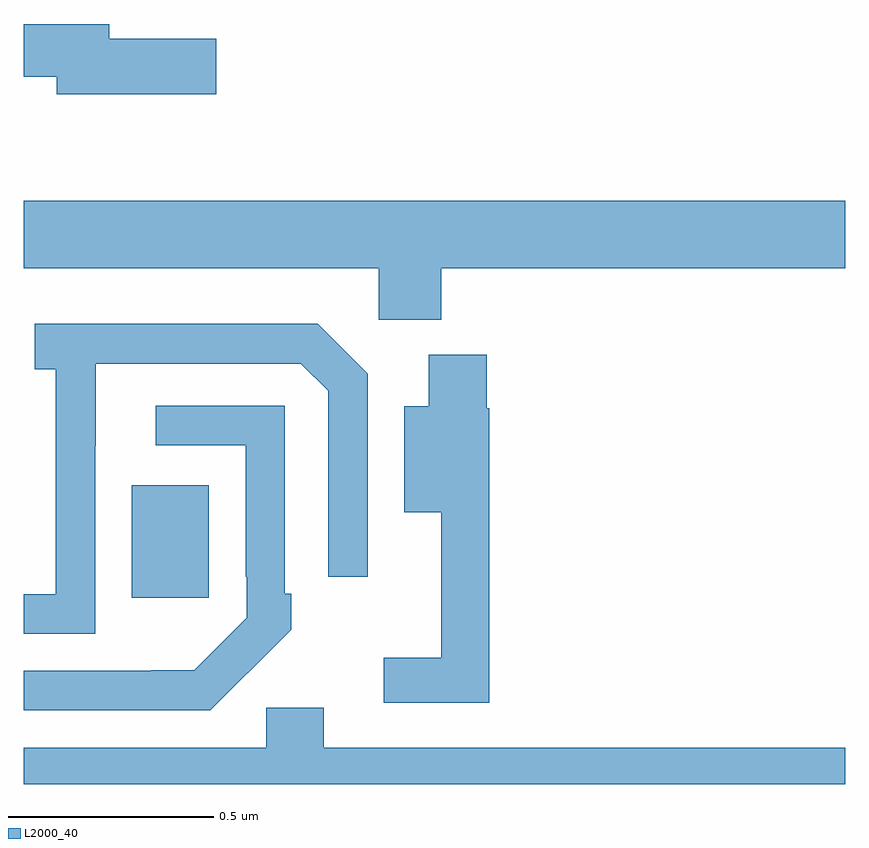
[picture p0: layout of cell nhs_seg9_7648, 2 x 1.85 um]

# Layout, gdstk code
import gdstk
lib = gdstk.Library(unit=1e-6, precision=1e-09)
def R(c, l, rs):  # rectangles x0, y0, x1, y1
    for r in rs: c.add(gdstk.rectangle(r[:2], r[2:], *l))
def P(c, l, *ps):  # polygons
    for p in ps: c.add(gdstk.Polygon(p, *l))
L2000_40 = (2000, 40)

nhs_seg9_7648 = lib.new_cell('nhs_seg9_7648')
R(nhs_seg9_7648, L2000_40, [(207.263,1192.953,207.451,1193.227)])
P(nhs_seg9_7648, L2000_40, [(207.469,1194.314),(207.208,1194.314),(207.208,1194.35),(207,1194.35),(207,1194.222),(207.08,1194.222),(207.08,1194.179),(207.469,1194.179)],
  [(208.016,1193.756),(209,1193.756),(209,1193.92),(207,1193.92),(207,1193.756),(207.864,1193.756),(207.864,1193.63),(208.016,1193.63)],
  [(207.174,1193.323),(207.175,1193.323),(207.175,1193.523),(207.675,1193.523),(207.741,1193.457),(207.741,1193.004),(207.837,1193.004),(207.837,1193.499),(207.716,1193.62),(207.027,1193.62),(207.027,1193.51),(207.078,1193.51),(207.078,1192.962),(207,1192.962),(207,1192.866),(207.174,1192.866)],
  [(208.133,1193.415),(208.127,1193.415),(208.127,1193.545),(207.986,1193.545),(207.986,1193.419),(207.926,1193.419),(207.926,1193.162),(208.016,1193.162),(208.016,1192.807),(207.876,1192.807),(207.876,1192.698),(208.133,1192.698)],
  [(207.545,1192.771),(207.546,1192.77),(207.651,1192.875),(207.651,1192.963),(207.636,1192.963),(207.636,1193.421),(207.321,1193.421),(207.321,1193.325),(207.54,1193.325),(207.54,1193.005),(207.543,1193.005),(207.543,1192.905),(207.415,1192.777),(207.311,1192.777),(207.311,1192.776),(207,1192.776),(207,1192.68),(207.454,1192.68)],
  [(209,1192.588),(207.73,1192.588),(207.73,1192.686),(207.591,1192.686),(207.591,1192.588),(207,1192.588),(207,1192.5),(209,1192.5)])

lib.write_gds('nhs_seg9_7648.gds')
